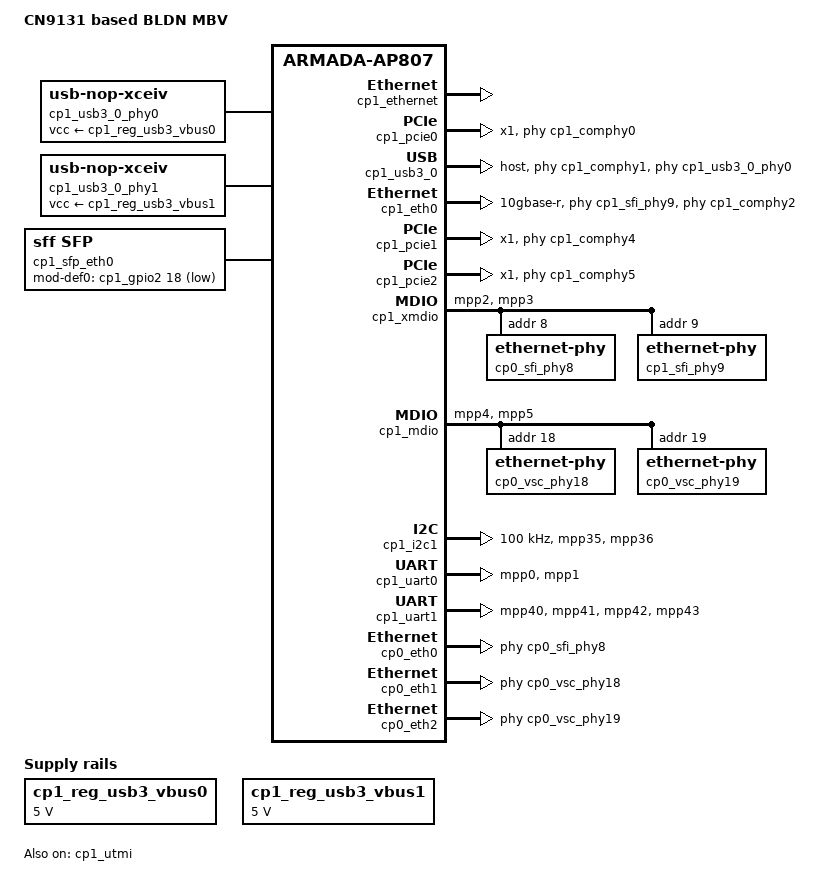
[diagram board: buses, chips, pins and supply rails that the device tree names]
// SPDX-License-Identifier: (GPL-2.0+ OR MIT)
/*
 * Copyright SolidRun Ltd.
 *
 * Device tree for the CN9131 COM Express Type 7 board.
 */

#include "cn9130-bldn-mbv.dts"

/ {
	model = "CN9131 based BLDN MBV";
	compatible = "marvell,cn9131", "marvell,cn9130",
		     "marvell,armada-ap807-quad", "marvell,armada-ap807";

	aliases {
		gpio3 = &cp1_gpio1;
		gpio4 = &cp1_gpio2;
		ethernet3 = &cp1_eth0;
		ethernet4 = &cp1_eth1;
	};
	cp1_reg_usb3_vbus0: cp1_usb3_vbus@0 {
		compatible = "regulator-fixed";
		regulator-name = "cp1-xhci0-vbus";
		regulator-min-microvolt = <5000000>;
		regulator-max-microvolt = <5000000>;
		enable-active-high;
	};
	cp1_usb3_0_phy0: cp1_usb3_phy0 {
		compatible = "usb-nop-xceiv";
		vcc-supply = <&cp1_reg_usb3_vbus0>;
	};
	cp1_reg_usb3_vbus1: cp1_usb3_vbus@1 {
		compatible = "regulator-fixed";
		regulator-name = "cp1-xhci1-vbus";
		regulator-min-microvolt = <5000000>;
		regulator-max-microvolt = <5000000>;
		enable-active-high;
	};
	cp1_usb3_0_phy1: cp1_usb3_phy@1 {
		compatible = "usb-nop-xceiv";
		vcc-supply = <&cp1_reg_usb3_vbus1>;
	};
	cp1_sfp_eth0: sfp_eth0{
		compatible = "sff,sfp";
	//	i2c-bus = <&i2c_sfp1>;
                mod-def0-gpio = <&cp1_gpio2 18 GPIO_ACTIVE_LOW>; //MPP50
                maximum-power-milliwatt = <2000>;
                pinctrl-0 = <&sfp_cp1_present_pins>; 
	};
	
};

/* Instantiate the first slave CP115  */

#define CP11X_NAME		cp1
#define CP11X_BASE		f4000000
#define CP11X_PCIEx_MEM_BASE(iface) (0xe2000000 + (iface * 0x1000000))
#define CP11X_PCIEx_MEM_SIZE(iface) 0xf00000
#define CP11X_PCIE0_BASE	f4600000
#define CP11X_PCIE1_BASE	f4620000
#define CP11X_PCIE2_BASE	f4640000

#include "armada-cp115.dtsi"

#undef CP11X_NAME
#undef CP11X_BASE
#undef CP11X_PCIEx_MEM_BASE
#undef CP11X_PCIEx_MEM_SIZE
#undef CP11X_PCIE0_BASE
#undef CP11X_PCIE1_BASE
#undef CP11X_PCIE2_BASE

&cp1_crypto {
	status = "disabled";
};

&cp1_ethernet {
	status = "okay";
};

/* SRDS #0 - PCIe */
&cp1_pcie0 {
        pinctrl-names = "default";
        num-lanes = <1>;
        phys = <&cp1_comphy0 0>;
        status = "okay";
//      num-viewport = <8>;
};

/* SRDS #1 - USB */
&cp1_usb3_0{
        status = "okay";
        usb-phy = <&cp1_usb3_0_phy0>;
        phy-names = "usb";
	phys = <&cp1_comphy1 0>;
	dr_mode = "host";
};

/* SRDS #2 - 10GbE */
&cp1_eth0 {
        status = "okay";
        phy-mode = "10gbase-r";
        phys = <&cp1_comphy2 0>;
        managed = "in-band-status";

	/* for SFP direct connectivity */
//	sfp = <&cp1_sfp_eth0>;
        
	/* MBV-A BCM PHY  | MBV-B VSC Microchip PHY */
	phy = <&cp1_sfi_phy9>; //address 0x01001
};

/* SRDS #3 - NC */
/*
&cp1_sata1 {
        phys = <&cp1_comphy3 1>;
        status = "diabled";
};
*/
/* SRDS #4 - PCIe */
&cp1_pcie1 {
	pinctrl-names = "default";
        num-lanes = <1>;
        phys = <&cp1_comphy4 1>;
        status = "okay";
};

/* SRDS #5 - PCIe */
&cp1_pcie2 {
        pinctrl-names = "default";
        num-lanes = <1>;
        phys = <&cp1_comphy5 2>;
        status = "okay";
};


&cp1_gpio1 {
	status = "okay";
};

&cp1_gpio2 {
	status = "okay";
};

&cp1_xmdio {
        status = "okay";
 	pinctrl-0 = <&cp1_xmdio_pins>;
        cp0_sfi_phy8: ethernet-phy@8 {
                reg = <8>;
        };
        cp1_sfi_phy9: ethernet-phy@9 {
                reg = <9>;
        };
};

&cp1_mdio {
        status = "okay";
        pinctrl-0 = <&cp1_mdio_pins>;
        cp0_vsc_phy18: ethernet-phy@18 {
                reg = <18>;
        };
        cp0_vsc_phy19: ethernet-phy@19 {
                reg = <19>;
        };

};
&cp1_i2c1 {
	status = "okay";
	pinctrl-names = "default";
	pinctrl-0 = <&cp1_i2c1_pins>;
	clock-frequency = <100000>;
};

&cp1_utmi {
        status = "okay";
};


&cp1_uart0{
	status = "okay";
        pinctrl-0 = <&cp1_uart0_pins>;
        pinctrl-names = "default";
};

&cp1_uart1{
        status = "okay";
        pinctrl-0 = <&cp1_uart1_pins>;
        pinctrl-names = "default";
};

/* PIN Definition */

&cp1_syscon0 {
	cp1_pinctrl: pinctrl {
		compatible = "marvell,cp115-standalone-pinctrl";

		cp1_i2c1_pins: cp1-i2c-pins-1 {
			marvell,pins = "mpp35", "mpp36";
			marvell,function = "i2c1";
		};
		cp1_xmdio_pins: cp1-xmdio-pins-0 {
			marvell,pins = "mpp2", "mpp3";
			marvell,function = "xg";
		};
		cp1_mdio_pins: cp1-mdio-pins-0 {
			marvell,pins = "mpp4", "mpp5";
			marvell,function = "ge";
		};	
		sfp_cp1_present_pins: sfp_cp1_present_pins-0 {
			marvell,pins = "mpp50";
			marvell,function = "gpio";
                };
		sfp_cp1_tx_disable_pins: sfp_cp1_tx_disable_pins-0 {
                        marvell,pins = "mpp33";
                        marvell,function = "gpio";
                };
		sfp_cp1_los_pins: sfp_cp1_los_pins-0 {
                        marvell,pins = "mpp34";
                        marvell,function = "gpio";
                };
		cp1_pci0_reset_pins: cp1_pci0_reset_pins-0 {
                        marvell,pins = "mpp29";
                        marvell,function = "gpio";
                };
		cp1_uart0_pins: cp1-uart0-pins-1 {
			marvell,pins = "mpp0", "mpp1";
			marvell,function = "uart0";
        	};
		cp1_uart1_pins: cp1-uart1-pins-1 {
                        marvell,pins = "mpp40", "mpp41", "mpp42", "mpp43";
                        marvell,function = "uart1";
                };

	};
};


/*************** definitions of addresses for cp0 eth ports ************/

&cp0_eth0 {
        status = "okay";
        phy = <&cp0_sfi_phy8>; //address 0x01000
};

&cp0_eth1 {
        status = "okay";
        phy = <&cp0_vsc_phy18>; //address 0x0011000
};

&cp0_eth2 {
        status = "okay";
        phy = <&cp0_vsc_phy19>; //address 0x0011001
};
                                                   
